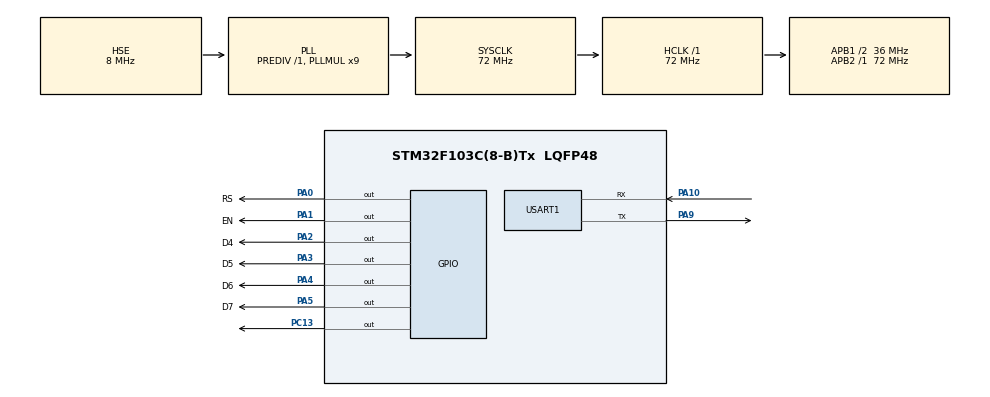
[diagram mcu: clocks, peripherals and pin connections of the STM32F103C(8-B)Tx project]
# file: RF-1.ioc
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Mcu.Family=STM32F1
Mcu.Name=STM32F103C(8-B)Tx
Mcu.Package=LQFP48
NVIC.PriorityGroup=NVIC_PRIORITYGROUP_4
NVIC.TIM4_IRQn=true\:0\:0\:false\:false\:true\:false
NVIC.TimeBase=TIM4_IRQn
NVIC.TimeBaseIP=TIM4
NVIC.USART1_IRQn=true\:0\:0\:false\:false\:true\:true
PA0-WKUP.GPIO_Label=RS
PA0-WKUP.GPIO_Speed=GPIO_SPEED_FREQ_MEDIUM
PA0-WKUP.Signal=GPIO_Output
PA1.GPIO_Label=EN
PA1.GPIO_Speed=GPIO_SPEED_FREQ_MEDIUM
PA1.Signal=GPIO_Output
PA10.Mode=Asynchronous
PA10.Signal=USART1_RX
PA13.Mode=Serial_Wire
PA13.Signal=SYS_JTMS-SWDIO
PA14.Mode=Serial_Wire
PA14.Signal=SYS_JTCK-SWCLK
PA2.GPIO_Label=D4
PA2.GPIO_Speed=GPIO_SPEED_FREQ_MEDIUM
PA2.Signal=GPIO_Output
PA3.GPIO_Label=D5
PA3.GPIO_Speed=GPIO_SPEED_FREQ_MEDIUM
PA3.Signal=GPIO_Output
PA4.GPIO_Label=D6
PA4.GPIO_Speed=GPIO_SPEED_FREQ_MEDIUM
PA4.Signal=GPIO_Output
PA5.GPIO_Label=D7
PA5.GPIO_Speed=GPIO_SPEED_FREQ_MEDIUM
PA5.Signal=GPIO_Output
PA9.Mode=Asynchronous
PA9.Signal=USART1_TX
PC13-TAMPER-RTC.GPIO_Speed=GPIO_SPEED_FREQ_LOW
PC13-TAMPER-RTC.Signal=GPIO_Output
PD0-OSC_IN.Mode=HSE-External-Oscillator
PD0-OSC_IN.Signal=RCC_OSC_IN
PD1-OSC_OUT.Mode=HSE-External-Oscillator
PD1-OSC_OUT.Signal=RCC_OSC_OUT
ProjectManager.HeapSize=0x200
ProjectManager.StackSize=0x400
ProjectManager.TargetToolchain=MDK-ARM V5
RCC.AHBFreq_Value=72000000
RCC.APB1CLKDivider=RCC_HCLK_DIV2
RCC.APB1Freq_Value=36000000
RCC.APB1TimFreq_Value=72000000
RCC.APB2Freq_Value=72000000
RCC.APB2TimFreq_Value=72000000
RCC.HCLKFreq_Value=72000000
RCC.PLLMUL=RCC_PLL_MUL9
RCC.PLLSourceVirtual=RCC_PLLSOURCE_HSE
RCC.SYSCLKFreq_VALUE=72000000
RCC.SYSCLKSource=RCC_SYSCLKSOURCE_PLLCLK
RCC.USBFreq_Value=72000000
USART1.VirtualMode=VM_ASYNC
VP_SYS_VS_tim4.Mode=TIM4
board=custom

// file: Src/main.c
/**
  ******************************************************************************
  * @file           : main.c
  * @brief          : Main program body
  ******************************************************************************
  ** This notice applies to any and all portions of this file
  * that are not between comment pairs USER CODE BEGIN and
  * USER CODE END. Other portions of this file, whether
  * inserted by the user or by software development tools
  * are owned by their respective copyright owners.
  *
  * COPYRIGHT(c) 2019 STMicroelectronics
  *
  * Redistribution and use in source and binary forms, with or without modification,
  * are permitted provided that the following conditions are met:
  *   1. Redistributions of source code must retain the above copyright notice,
  *      this list of conditions and the following disclaimer.
  *   2. Redistributions in binary form must reproduce the above copyright notice,
  *      this list of conditions and the following disclaimer in the documentation
  *      and/or other materials provided with the distribution.
  *   3. Neither the name of STMicroelectronics nor the names of its contributors
  *      may be used to endorse or promote products derived from this software
  *      without specific prior written permission.
  *
  * THIS SOFTWARE IS PROVIDED BY THE COPYRIGHT HOLDERS AND CONTRIBUTORS "AS IS"
  * AND ANY EXPRESS OR IMPLIED WARRANTIES, INCLUDING, BUT NOT LIMITED TO, THE
  * IMPLIED WARRANTIES OF MERCHANTABILITY AND FITNESS FOR A PARTICULAR PURPOSE ARE
  * DISCLAIMED. IN NO EVENT SHALL THE COPYRIGHT HOLDER OR CONTRIBUTORS BE LIABLE
  * FOR ANY DIRECT, INDIRECT, INCIDENTAL, SPECIAL, EXEMPLARY, OR CONSEQUENTIAL
  * DAMAGES (INCLUDING, BUT NOT LIMITED TO, PROCUREMENT OF SUBSTITUTE GOODS OR
  * SERVICES; LOSS OF USE, DATA, OR PROFITS; OR BUSINESS INTERRUPTION) HOWEVER
  * CAUSED AND ON ANY THEORY OF LIABILITY, WHETHER IN CONTRACT, STRICT LIABILITY,
  * OR TORT (INCLUDING NEGLIGENCE OR OTHERWISE) ARISING IN ANY WAY OUT OF THE USE
  * OF THIS SOFTWARE, EVEN IF ADVISED OF THE POSSIBILITY OF SUCH DAMAGE.
  *
  ******************************************************************************
  */
#include "main.h"
#include "stm32f1xx_hal.h"

/* USER CODE BEGIN Includes */
#include "string.h"

/* USER CODE END Includes */

UART_HandleTypeDef huart1;

/* USER CODE BEGIN PV */
/* Private variables ---------------------------------------------------------*/

/* USER CODE END PV */

void SystemClock_Config(void);
static void MX_GPIO_Init(void);
static void MX_USART1_UART_Init(void);

/* USER CODE BEGIN PFP */
/* Private function prototypes -----------------------------------------------*/

/* USER CODE END PFP */

/* USER CODE BEGIN 0 */

unsigned char data[1];
char t_str[30];
int xx =0x131;

	// RS, HD7, HD6 , HD5, HD4, LD7, LD6 , LD5, LD4

void send_command(int CMD){	//RS
		if((CMD & 0x100) == 0x100)
			{
				HAL_GPIO_WritePin(GPIOA, RS_Pin, GPIO_PIN_SET);
			}
		else
			{
				HAL_GPIO_WritePin(GPIOA, RS_Pin, GPIO_PIN_RESET);
			}

		//High order D7
		if((CMD & 0x80) == 0x80)
			{
				HAL_GPIO_WritePin(GPIOA, D7_Pin, GPIO_PIN_SET);
			}
		else
			{
				HAL_GPIO_WritePin(GPIOA, D7_Pin, GPIO_PIN_RESET);
			}

		//High order D6
		if((CMD & 0x40) == 0x40)
			{
				HAL_GPIO_WritePin(GPIOA, D6_Pin, GPIO_PIN_SET);
			}
		else
			{
				HAL_GPIO_WritePin(GPIOA, D6_Pin, GPIO_PIN_RESET);
			}

		//High order D5
		if((CMD & 0x20) == 0x20)
			{
				HAL_GPIO_WritePin(GPIOA, D5_Pin, GPIO_PIN_SET);
			}
		else
			{
				HAL_GPIO_WritePin(GPIOA, D5_Pin, GPIO_PIN_RESET);
			}

		//High order D4
		if((CMD & 0x10) == 0x10)
			{
				HAL_GPIO_WritePin(GPIOA, D4_Pin, GPIO_PIN_SET);
			}
		else
			{
				HAL_GPIO_WritePin(GPIOA, D4_Pin, GPIO_PIN_RESET);
			}
		//Send Command by toggle EN pin
		HAL_Delay(1);
		HAL_GPIO_WritePin(GPIOA, EN_Pin, GPIO_PIN_SET); //EN High
		HAL_Delay(2);
		HAL_GPIO_WritePin(GPIOA, EN_Pin, GPIO_PIN_RESET); //EN Low
		HAL_Delay(10);
			//OFF ALL
			HAL_GPIO_WritePin(GPIOA, RS_Pin|EN_Pin|D4_Pin|D5_Pin|D6_Pin|D7_Pin, GPIO_PIN_RESET);

				//RS
		if((CMD & 0x100) == 0x100)
			{
				HAL_GPIO_WritePin(GPIOA, RS_Pin, GPIO_PIN_SET);
			}
		else
			{
				HAL_GPIO_WritePin(GPIOA, RS_Pin, GPIO_PIN_RESET);
			}

		//High order D7
		if((CMD & 0x80) == 0x80)
			{
				HAL_GPIO_WritePin(GPIOA, D7_Pin, GPIO_PIN_SET);
			}
		else
			{
				HAL_GPIO_WritePin(GPIOA, D7_Pin, GPIO_PIN_RESET);
			}

		//High order D6
		if((CMD & 0x40) == 0x40)
			{
				HAL_GPIO_WritePin(GPIOA, D6_Pin, GPIO_PIN_SET);
			}
		else
			{
				HAL_GPIO_WritePin(GPIOA, D6_Pin, GPIO_PIN_RESET);
			}

		//High order D5
		if((CMD & 0x20) == 0x20)
			{
				HAL_GPIO_WritePin(GPIOA, D5_Pin, GPIO_PIN_SET);
			}
		else
			{
				HAL_GPIO_WritePin(GPIOA, D5_Pin, GPIO_PIN_RESET);
			}

		//High order D4
		if((CMD & 0x10) == 0x10)
			{
				HAL_GPIO_WritePin(GPIOA, D4_Pin, GPIO_PIN_SET);
			}
		else
			{
				HAL_GPIO_WritePin(GPIOA, D4_Pin, GPIO_PIN_RESET);
			}
		//Send Command by toggle EN pin
		HAL_Delay(1);
		HAL_GPIO_WritePin(GPIOA, EN_Pin, GPIO_PIN_SET); //EN High
		HAL_Delay(2);
		HAL_GPIO_WritePin(GPIOA, EN_Pin, GPIO_PIN_RESET); //EN Low
		HAL_Delay(10);

			//OFF ALL
			HAL_GPIO_WritePin(GPIOA, RS_Pin|EN_Pin|D4_Pin|D5_Pin|D6_Pin|D7_Pin, GPIO_PIN_RESET);

}

/* USER CODE END 0 */

int main(void)
{

  /* MCU Configuration----------------------------------------------------------*/

  /* Reset of all peripherals, Initializes the Flash interface and the Systick. */
  HAL_Init();

  /* Configure the system clock */
  SystemClock_Config();

  /* Initialize all configured peripherals */
  MX_GPIO_Init();
  MX_USART1_UART_Init();
  /* USER CODE BEGIN 2 */
  HAL_GPIO_WritePin(GPIOA, RS_Pin|EN_Pin|D4_Pin|D5_Pin|D6_Pin|D7_Pin, GPIO_PIN_RESET);

	HAL_Delay(1000);
		send_command(0x33);
		send_command(0x32);
		//Function set (set font and lines)
		send_command(0x28);

		//On off control
		send_command(0x0E);

		//Entry mode set
		send_command(0x06);

		//Clear LCD
		send_command(0x01);

		//Return Home
		send_command(0x02);

		//Write text to lcd
		send_command(0x148); //H
		send_command(0x145); //E
		send_command(0x14C); //L
		send_command(0x14C); //L
		send_command(0x14F); //O
		send_command(0x1FE); //Space
		send_command(0x157); //W
		send_command(0x14F); //O
		send_command(0x152); //R
		send_command(0x14C); //L
		send_command(0x144); //D

	HAL_GPIO_WritePin(GPIOC,GPIO_PIN_13,GPIO_PIN_RESET);
		HAL_Delay(1000);
 	HAL_GPIO_WritePin(GPIOC,GPIO_PIN_13,GPIO_PIN_SET);
		HAL_Delay(1000);

HAL_UART_Receive_IT(&huart1,data,1);

  /* USER CODE END 2 */

  /* Infinite loop */
  while (1)
  {

  /* USER CODE BEGIN 3 */
	HAL_GPIO_WritePin(GPIOC,GPIO_PIN_13,GPIO_PIN_RESET);
		HAL_Delay(100);
	HAL_GPIO_WritePin(GPIOC,GPIO_PIN_13,GPIO_PIN_SET);
		HAL_Delay(100);

  }
  /* USER CODE END 3 */

}

void SystemClock_Config(void)
{

  RCC_OscInitTypeDef RCC_OscInitStruct;
  RCC_ClkInitTypeDef RCC_ClkInitStruct;

    /**Initializes the CPU, AHB and APB busses clocks
    */
  RCC_OscInitStruct.OscillatorType = RCC_OSCILLATORTYPE_HSE;
  RCC_OscInitStruct.HSEState = RCC_HSE_ON;
  RCC_OscInitStruct.HSEPredivValue = RCC_HSE_PREDIV_DIV1;
  RCC_OscInitStruct.HSIState = RCC_HSI_ON;
  RCC_OscInitStruct.PLL.PLLState = RCC_PLL_ON;
  RCC_OscInitStruct.PLL.PLLSource = RCC_PLLSOURCE_HSE;
  RCC_OscInitStruct.PLL.PLLMUL = RCC_PLL_MUL9;
  if (HAL_RCC_OscConfig(&RCC_OscInitStruct) != HAL_OK)
  {
    _Error_Handler(__FILE__, __LINE__);
  }

    /**Initializes the CPU, AHB and APB busses clocks
    */
  RCC_ClkInitStruct.ClockType = RCC_CLOCKTYPE_HCLK|RCC_CLOCKTYPE_SYSCLK
                              |RCC_CLOCKTYPE_PCLK1|RCC_CLOCKTYPE_PCLK2;
  RCC_ClkInitStruct.SYSCLKSource = RCC_SYSCLKSOURCE_PLLCLK;
  RCC_ClkInitStruct.AHBCLKDivider = RCC_SYSCLK_DIV1;
  RCC_ClkInitStruct.APB1CLKDivider = RCC_HCLK_DIV2;
  RCC_ClkInitStruct.APB2CLKDivider = RCC_HCLK_DIV1;

  if (HAL_RCC_ClockConfig(&RCC_ClkInitStruct, FLASH_LATENCY_2) != HAL_OK)
  {
    _Error_Handler(__FILE__, __LINE__);
  }

    /**Configure the Systick interrupt time
    */
  HAL_SYSTICK_Config(HAL_RCC_GetHCLKFreq()/1000);

    /**Configure the Systick
    */
  HAL_SYSTICK_CLKSourceConfig(SYSTICK_CLKSOURCE_HCLK);

  /* SysTick_IRQn interrupt configuration */
  HAL_NVIC_SetPriority(SysTick_IRQn, 0, 0);
}

/* USART1 init function */
static void MX_USART1_UART_Init(void)
{

  huart1.Instance = USART1;
  huart1.Init.BaudRate = 115200;
  huart1.Init.WordLength = UART_WORDLENGTH_8B;
  huart1.Init.StopBits = UART_STOPBITS_1;
  huart1.Init.Parity = UART_PARITY_NONE;
  huart1.Init.Mode = UART_MODE_TX_RX;
  huart1.Init.HwFlowCtl = UART_HWCONTROL_NONE;
  huart1.Init.OverSampling = UART_OVERSAMPLING_16;
  if (HAL_UART_Init(&huart1) != HAL_OK)
  {
    _Error_Handler(__FILE__, __LINE__);
  }

}

/** Configure pins as
        * Analog
        * Input
        * Output
        * EVENT_OUT
        * EXTI
*/
static void MX_GPIO_Init(void)
{

  GPIO_InitTypeDef GPIO_InitStruct;

  /* GPIO Ports Clock Enable */
  __HAL_RCC_GPIOC_CLK_ENABLE();
  __HAL_RCC_GPIOD_CLK_ENABLE();
  __HAL_RCC_GPIOA_CLK_ENABLE();

  /*Configure GPIO pin Output Level */
  HAL_GPIO_WritePin(GPIOC, GPIO_PIN_13, GPIO_PIN_RESET);

  /*Configure GPIO pin Output Level */
  HAL_GPIO_WritePin(GPIOA, RS_Pin|EN_Pin|D4_Pin|D5_Pin
                          |D6_Pin|D7_Pin, GPIO_PIN_RESET);

  /*Configure GPIO pin : PC13 */
  GPIO_InitStruct.Pin = GPIO_PIN_13;
  GPIO_InitStruct.Mode = GPIO_MODE_OUTPUT_PP;
  GPIO_InitStruct.Pull = GPIO_NOPULL;
  GPIO_InitStruct.Speed = GPIO_SPEED_FREQ_LOW;
  HAL_GPIO_Init(GPIOC, &GPIO_InitStruct);

  /*Configure GPIO pins : RS_Pin EN_Pin D4_Pin D5_Pin
                           D6_Pin D7_Pin */
  GPIO_InitStruct.Pin = RS_Pin|EN_Pin|D4_Pin|D5_Pin
                          |D6_Pin|D7_Pin;
  GPIO_InitStruct.Mode = GPIO_MODE_OUTPUT_PP;
  GPIO_InitStruct.Pull = GPIO_NOPULL;
  GPIO_InitStruct.Speed = GPIO_SPEED_FREQ_MEDIUM;
  HAL_GPIO_Init(GPIOA, &GPIO_InitStruct);

}

/* USER CODE BEGIN 4 */

void HAL_UART_RxCpltCallback(UART_HandleTypeDef *huart)
{

	sprintf(t_str, "--%c--\n",data[0]);
	HAL_UART_Transmit(&huart1,(unsigned char*)t_str,strlen(t_str),100);

		xx++;
	if(xx==0x13B)
			xx=0x131;
			//Write text to lcd
		send_command(xx); //H

	HAL_UART_Receive_IT(&huart1,data,1);

}

/* USER CODE END 4 */

void HAL_TIM_PeriodElapsedCallback(TIM_HandleTypeDef *htim)
{
  if (htim->Instance == TIM4) {
    HAL_IncTick();
  }
}

void _Error_Handler(char *file, int line)
{
  while(1)
  {
  }
}

/************************ (C) COPYRIGHT STMicroelectronics *****END OF FILE****/
